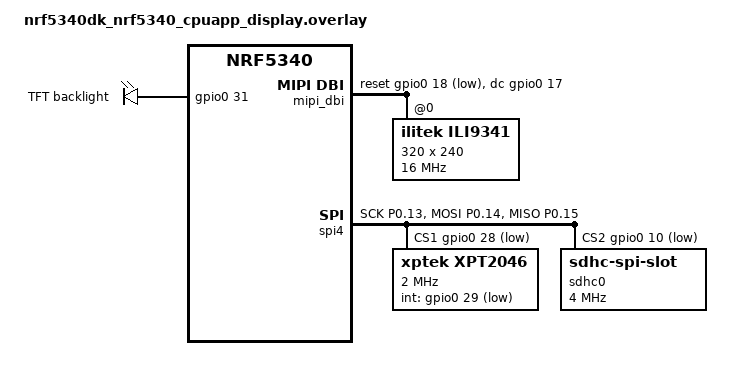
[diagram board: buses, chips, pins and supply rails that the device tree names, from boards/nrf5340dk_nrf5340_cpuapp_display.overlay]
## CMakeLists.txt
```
# SPDX-License-Identifier: Apache-2.0

cmake_minimum_required(VERSION 3.20.0)

find_package(Zephyr REQUIRED HINTS $ENV{ZEPHYR_BASE})
project(blue_frog)

# One firmware per unit type, each with its own overlay + conf pair:
#
#   TFT unit     CONFIG_APP_TDMA_CONSOLE  src/tdma_console  boards/..._tft.*
#   shield unit  CONFIG_APP_TDMA_FIELD    src/tdma_field    boards/..._shield.*
#
# A build given only one file of a pair, or neither, would link a front end
# the devicetree does not have and fail somewhere obscure. Stop here instead,
# with the two build lines.
if(CONFIG_APP_TDMA_CONSOLE)
  dt_nodelabel(unit_front_end NODELABEL ili9341)
elseif(CONFIG_APP_TDMA_FIELD)
  dt_nodelabel(unit_front_end NODELABEL ssd1306)
endif()
if(NOT unit_front_end)
  message(FATAL_ERROR
    "Build one unit type, passing both of its files:\n"
    "  TFT unit:    -DEXTRA_DTC_OVERLAY_FILE=boards/nrf5340dk_nrf5340_cpuapp_tft.overlay"
    " -DEXTRA_CONF_FILE=boards/nrf5340dk_nrf5340_cpuapp_tft.conf\n"
    "  shield unit: -DEXTRA_DTC_OVERLAY_FILE=boards/nrf5340dk_nrf5340_cpuapp_shield.overlay"
    " -DEXTRA_CONF_FILE=boards/nrf5340dk_nrf5340_cpuapp_shield.conf\n"
    "(see README.md, \"Building and flashing\").")
endif()

# Shared by both units: the L1/L2 TDMA radio layer, the SD card + soak
# loggers and the tone payload source, none of which depend on the display.
# tone_src is referenced only when the tone can be sent (CONFIG_SOAK_RTT or
# CONFIG_SOAK_PAYLOAD_TONE, see payload_src.h); otherwise the linker drops
# the code, so ramp builds link none of it.
FILE(GLOB tdma_sources src/tdma/*.c)
target_sources(app PRIVATE ${tdma_sources}
  src/tdma_console/sd_log.c
  src/tdma_console/soak_log.c
  src/tdma_console/tone_src.c)
# The RTT bench port (CONFIG_SOAK_RTT), shared the same way, and the Codec 2
# clip source it uploads into (the clip mode depends on it).
target_sources_ifdef(CONFIG_SOAK_RTT app PRIVATE
  src/tdma_console/rtt_link.c
  src/tdma_console/clip_src.c)

# Codec 2 on the device (CONFIG_SOAK_C2_ENCODE): the vendored subset in
# external/codec2 (LGPL-2.1, see its README) as its own static library, and
# the encoder thread that drives it. __EMBEDDED__ keeps the codebooks const
# (flash) and routes the codec's MALLOC to codec2_malloc() (c2_enc.c);
# -ffp-contract=off stops
# GCC fusing multiply-adds, so the device computes what the host reference
# (pycodec2) computes. Upstream code, upstream warnings: silenced.
if(CONFIG_SOAK_C2_ENCODE)
  FILE(GLOB codec2_sources external/codec2/src/*.c)
  add_library(codec2 STATIC ${codec2_sources})
  target_link_libraries(codec2 PRIVATE zephyr_interface)
  # FFTs on CMSIS-DSP (CONFIG_SOAK_C2_ARM_FFT): upstream's FDV_ARM_MATH path.
  # PUBLIC, so every file that includes codec2_fft.h agrees on the types.
  if(CONFIG_SOAK_C2_ARM_FFT)
    target_compile_definitions(codec2 PUBLIC FDV_ARM_MATH)
  endif()
  # Only mode 3200 is compiled in; the others' tables never reach flash.
  target_compile_definitions(codec2 PUBLIC CODEC2_MODE_EN_DEFAULT=0
    CODEC2_MODE_3200_EN=1)
  target_compile_definitions(codec2 PUBLIC __EMBEDDED__)
  # Upstream builds in GNU C; Zephyr's -std=c99 hides M_PI and friends.
  target_compile_definitions(codec2 PRIVATE _DEFAULT_SOURCE)
  # -O2 through a force-included pragma (external/codec2_opt.h): Zephyr's
  # -Os lands after target options, so -O2 here would lose.
  # -fsingle-precision-constant: the sources write constants like 2.0*PI,
  # which promote float maths to double, and the M33's FPU is single
  # precision only, so every such expression ran in software
  # (__aeabi_dmul & co. in every hot file).
  target_compile_options(codec2 PRIVATE -w -ffp-contract=off
    -fsingle-precision-constant
    -include ${CMAKE_CURRENT_SOURCE_DIR}/external/codec2_opt.h)
  target_include_directories(codec2 PUBLIC external/codec2/src
    external/codec2/include)
  target_link_libraries(app PRIVATE codec2)
  target_sources(app PRIVATE src/tdma_console/c2_enc.c
    src/tdma_console/c2_dec.c)
  # Mic DSP front end (CONFIG_SOAK_MIC_DSP): the vendored SpeexDSP
  # preprocessor subset in external/speexdsp (BSD, see its README) as its
  # own static library. Same -O2 pragma and single-precision constants as
  # Codec 2, and float_math.h maps its double libm calls to the float ones;
  # config.h and the allocator hooks are in external/speexdsp/port.
  if(CONFIG_SOAK_MIC_DSP)
    add_library(speexdsp STATIC
      external/speexdsp/libspeexdsp/preprocess.c
      external/speexdsp/libspeexdsp/filterbank.c
      external/speexdsp/libspeexdsp/fftwrap.c
      external/speexdsp/libspeexdsp/smallft.c
      external/speexdsp/port/echo_stub.c)
    target_link_libraries(speexdsp PRIVATE zephyr_interface)
    target_compile_definitions(speexdsp PRIVATE HAVE_CONFIG_H)
    # SHELL: keeps CMake from merging the two -include flags into one.
    target_compile_options(speexdsp PRIVATE -w -fsingle-precision-constant
      "SHELL:-include ${CMAKE_CURRENT_SOURCE_DIR}/external/codec2_opt.h"
      "SHELL:-include ${CMAKE_CURRENT_SOURCE_DIR}/external/speexdsp/port/float_math.h")
    target_include_directories(speexdsp PRIVATE external/speexdsp/port
      external/speexdsp/libspeexdsp)
    target_include_directories(speexdsp PUBLIC external/speexdsp/include)
    target_link_libraries(app PRIVATE speexdsp)
    target_sources(app PRIVATE src/tdma_console/mic_dsp.c)
  endif()
  # Per-function profile (CONFIG_SOAK_C2_PROFILE): the linker sends the
  # codec's cross-file calls to timing wrappers in c2_prof.c.
  if(CONFIG_SOAK_C2_PROFILE)
    target_sources(app PRIVATE src/tdma_console/c2_prof.c)
    foreach(fn codec2_encode codec2_decode dft_speech nlp
        two_stage_pitch_refinement estimate_amplitudes est_voicing_mbe
        speech_to_uq_lsps encode_lspds_scalar decode_lspds_scalar lsp_to_lpc
        aks_to_M2 phase_synth_zero_order postfilter synthesise
        kiss_fft kiss_fftr kiss_fftri arm_cfft_f32 arm_rfft_fast_f32
        cosf sinf expf logf log10f sqrtf floorf atan2f powf)
      zephyr_ld_options(-Wl,--wrap=${fn})
    endforeach()
  endif()
endif()
# Opus on the device (CONFIG_SOAK_OPUS_DEC): the vendored libopus 1.5.2
# subset in external/opus (BSD-3-Clause, see its README) as its own static
# library. Fixed point, no float API, no DNN extensions; scratch on the
# calling thread's stack (VAR_ARRAYS), so decode needs no heap. Same -O2
# pragma as Codec 2. Upstream code, upstream warnings: silenced.
if(CONFIG_SOAK_OPUS_DEC)
  FILE(GLOB opus_sources external/opus/celt/*.c external/opus/silk/*.c
    external/opus/silk/fixed/*.c external/opus/src/*.c)
  add_library(opus STATIC ${opus_sources})
  target_link_libraries(opus PRIVATE zephyr_interface)
  # OPUS_ARM_INLINE_ASM / _EDSP: upstream's inline-asm fixed-point
  # multiplies (celt/arm, silk/arm), single SMULWB/SMLAWB/SMULL-class
  # instructions on the M33's DSP extension instead of 64-bit C maths.
  target_compile_definitions(opus PRIVATE OPUS_BUILD FIXED_POINT
    DISABLE_FLOAT_API VAR_ARRAYS "PACKAGE_VERSION=\"1.5.2\""
    OPUS_ARM_INLINE_ASM OPUS_ARM_INLINE_EDSP)
  target_compile_options(opus PRIVATE -w
    -include ${CMAKE_CURRENT_SOURCE_DIR}/external/codec2_opt.h)
  target_include_directories(opus PRIVATE external/opus/celt
    external/opus/silk external/opus/silk/fixed external/opus/src)
  target_include_directories(opus PUBLIC external/opus/include)
  target_link_libraries(app PRIVATE opus)
  target_sources(app PRIVATE src/tdma_console/opus_dec.c)
  # The same encoder pipeline as Codec 2's, on libopus
  # (CONFIG_SOAK_OPUS_ENC).
  target_sources_ifdef(CONFIG_SOAK_OPUS_ENC app PRIVATE
    src/tdma_console/c2_enc.c)
endif()
# A clip compiled into flash (CONFIG_SOAK_CLIP_BUILTIN), loaded at boot by
# clip_src.c: a field unit with no mic and no PC.
if(CONFIG_SOAK_CLIP_BUILTIN)
  generate_inc_file_for_target(app
    ${CMAKE_CURRENT_SOURCE_DIR}/${CONFIG_SOAK_CLIP_BUILTIN_FILE}
    ${ZEPHYR_BINARY_DIR}/include/generated/clip_builtin.inc)
endif()
# The WM8960 HAT (CONFIG_SOAK_AUDIO_HAT): mic and earpieces, for either
# codec's decoder.
target_sources_ifdef(CONFIG_SOAK_AUDIO_HAT app PRIVATE
  src/tdma_console/hat_audio.c src/tdma_console/wm8960.c)
target_include_directories(app PRIVATE src/tdma src/tdma_console)
# Driver-internal header, needed once at init to detach the native driver's
# DIO1 gpio_callback (docs/tdma_layering.md). The installed driver *is* the
# repo's vendored copy (scripts/setup_sdk.sh), so the struct layout is the
# one this build links against.
target_include_directories(app PRIVATE ${ZEPHYR_BASE}/drivers/lora/native/sx126x)

if(CONFIG_APP_TDMA_CONSOLE)
  target_sources(app PRIVATE
    src/tdma_console/main.c
    src/tdma_console/ui_widgets.c
    src/tdma_console/touch_cal.c)
elseif(CONFIG_APP_TDMA_FIELD)
  FILE(GLOB tdma_field_sources src/tdma_field/*.c)
  target_sources(app PRIVATE ${tdma_field_sources})
endif()
```

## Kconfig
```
# Application configuration.
#
# One firmware per unit type on the bench. Exactly one is built at a time,
# selected by that unit's companion conf, which is always applied together
# with its overlay (see README.md, "Building and flashing"):
#
#   TFT unit     boards/nrf5340dk_nrf5340_cpuapp_tft.{overlay,conf}
#   shield unit  boards/nrf5340dk_nrf5340_cpuapp_shield.{overlay,conf}
#
# Both run the same TDMA radio layer (src/tdma) and log soaks to SD.

choice
	prompt "Unit type"
	help
	  Set by the unit's companion conf. CMakeLists.txt stops the build if
	  the choice and the devicetree front end do not match.

config APP_TDMA_CONSOLE
	bool "TFT unit: TDMA field console (ILI9341 + touch + microSD)"
	select COUNTER
	help
	  Field-test console for the TDMA radio layer on the TFT breakout:
	  ILI9341 display, XPT2046 touch and microSD on spi4 / port 0, with the
	  radio shield on spi2 / port 1. Apply
	  boards/nrf5340dk_nrf5340_cpuapp_tft.overlay and
	  boards/nrf5340dk_nrf5340_cpuapp_tft.conf. Soak tests of the continuous
	  TX/RX frame exchange with live link telemetry on the TFT. The unit
	  (MASTER in slot 0, or SEC 1-3) is picked at boot, so one image serves
	  every unit. All PHY parameters are compile-time constants in tdma.h
	  except TX power. Display-only: no UART, logging, or shell.

config APP_TDMA_FIELD
	bool "Shield unit: TDMA field unit (rev 2 shield: OLED + microSD)"
	select COUNTER
	help
	  The same soak runner on the rev 2 shield: an SSD1306 128x32 OLED on
	  i2c1, a microSD card on spi4, and the SX1262 on spi2 / port 1. Apply
	  boards/nrf5340dk_nrf5340_cpuapp_shield.overlay and
	  boards/nrf5340dk_nrf5340_cpuapp_shield.conf. Buttons only, with an
	  essentials-only cycle UI: unit (MASTER in slot 0, or SEC 1-3) at
	  boot, then soak, TX power and an SD summary. UART logging stays on for
	  bring-up.

endchoice

config TDMA_PAYLOAD_LEN
	int "L3 payload bytes per packet (40 or 80)"
	default 40
	range 40 80
	help
	  Bytes of opaque payload behind the 4-byte L2 header. 40 is the
	  engine every log before 2026-10-30 ran. 80 carries four 18 B Opus
	  frames behind the 8-byte clip test header
	  (docs/opus_payload.md): 84 B on air, 12.88 ms of the 18 ms slot
	  window. Time-on-air and the pre-TX pickup follow from it (tdma.h),
	  and so does the soak log record (64 B, or 128 B at 80). Every unit
	  in a group must match: the L2 length check drops anything else.

config SOAK_UNIT_SLOT
	int "Unit to boot as: TX slot 0 (MASTER) to 3, or -1 to pick at power-on"
	default -1
	range -1 3
	depends on APP_TDMA_CONSOLE || APP_TDMA_FIELD
	help
	  Preset the unit for field runs, so it boots without the power-on
	  unit pick: splash (unit and TX power), an SD card check, then
	  straight into the soak menu. 0 is the MASTER, 1-3 are SEC 1-3; give
	  every unit in a kit its own value, e.g.
	  -DCONFIG_SOAK_UNIT_SLOT=0 on one unit. -1 keeps the power-on pick.

config SOAK_BOOT_TX_POWER_DBM
	int "TX power at boot (dBm)"
	default 22
	range -9 22
	depends on APP_TDMA_CONSOLE || APP_TDMA_FIELD
	help
	  TX power each unit starts at; still adjustable from HOME (TX PWR).

config SOAK_TOUCH_CAL
	bool "TFT unit: power-on touch calibration"
	default y
	depends on APP_TDMA_CONSOLE && !SOAK_PAYLOAD_LADDER
	help
	  Run the mandatory touch calibration at power-on. Say n to drive the
	  console from the DK buttons only (B1 UP, B2 DOWN, B3 OK, B4 BACK):
	  calibration is skipped and touch input is ignored, since uncalibrated
	  taps land in the wrong place. Always off in a ladder build, which
	  runs on B1 GO and B4 STOP alone.

choice SOAK_PAYLOAD
	prompt "Soak payload"
	default SOAK_PAYLOAD_RAMP
	help
	  What a soak puts in each transmission's payload. The log's META
	  record says which payload a unit sent. With SOAK_RTT all four
	  sources are linked and the bench port's "mode" command picks the
	  one the next soak starts in; this is the boot default. Without it,
	  only the chosen source is linked. A soak latches its source at
	  start and never switches mid-run.

config SOAK_PAYLOAD_RAMP
	bool "Ramp: payload[i] = base + i"
	help
	  The original payload. The base advances once per staged frame.

config SOAK_PAYLOAD_TONE
	bool "Tone: per-slot PCM tone"
	help
	  Fill each soak transmission with 40 samples of an 8 kHz, 8-bit tone
	  at 330 Hz * (slot + 1) in place of the payload[i] = base + i ramp.
	  Chunk n is the audio for the unit's n-th TX slot of the run, so a
	  missed frame's audio is dropped, never delayed. Rebuild every unit
	  in the run with the same setting, then turn any unit's log into a
	  WAV of its peers with tools/reconstruct_tone.py. See
	  docs/tone_payload_test.md.

config SOAK_PAYLOAD_CLIP
	bool "Clip: a Codec 2 clip uploaded over RTT"
	depends on SOAK_RTT
	help
	  Chunk n carries an 8-byte test header (magic 0xC2, codec, chunk
	  index, clip id) and the clip's bytes [(n mod chunks) * 32, +32):
	  four Codec 2 3200 frames, 80 ms of speech. With 80-byte payloads
	  the chunk is 72 bytes, four 18 B Opus frames (codec 1). The clip
	  is uploaded once per boot with tools/rtt_link.py and loops. A soak
	  will not start in this mode without a valid clip. Score a run with
	  tools/reconstruct_c2.py. See docs/rtt_link_c2_transport.md.

config SOAK_PAYLOAD_LADDER
	bool "Ladder: TX power ladder test, GO/STOP only"
	help
	  The fixed-range TX power test (src/tdma_console/tx_ladder.h).
	  From GO each unit logs its receiver noise floor, then steps its
	  own TX power from -6 to +22 dBm in 4 dB rungs of 30 s, holds
	  +22 dBm for a 20 s tail (4:20 in all) and ends the run itself.
	  Every packet carries its rung, so either unit's log gives RSSI,
	  SNR and loss per rung (tools/ladder_report.py). Both units drop
	  to two buttons: B1 GO, B4 STOP; preset each with SOAK_UNIT_SLOT.
	  Logs are LADR_NNN.BIN.

endchoice

config SOAK_C2_ENCODE
	bool "Encode Codec 2 on the device (encode test)"
	depends on SOAK_RTT
	select FPU
	select FPU_SHARING
	select INIT_STACKS
	select THREAD_STACK_INFO
	select THREAD_RUNTIME_STATS
	select THREAD_RUNTIME_STATS_USE_TIMING_FUNCTIONS
	select TIMING_FUNCTIONS
	help
	  Link the vendored Codec 2 (external/codec2, LGPL-2.1) and add the
	  "pcm" payload mode: the clip buffer holds raw 8 kHz 16-bit PCM,
	  a frame-locked simulated microphone makes each 80 ms chunk
	  available a set time before its TX boundary, and an encoder thread
	  turns it into four Codec 2 3200 frames behind the clip test header.
	  Encode time is logged per TX record. Received chunks are decoded
	  per peer and mixed (c2_dec.c; output discarded until there is a
	  playout path), with per-thread CPU accounting. Test firmware only: the
	  product licensing of Codec 2 is not settled. See
	  docs/c2_encode_test.md.

config SOAK_OPUS_DEC
	bool "Decode received Opus clips on the device (to the HAT earpieces)"
	depends on SOAK_RTT && TDMA_PAYLOAD_LEN = 80
	select INIT_STACKS
	select THREAD_STACK_INFO
	select THREAD_RUNTIME_STATS
	select THREAD_RUNTIME_STATS_USE_TIMING_FUNCTIONS
	select TIMING_FUNCTIONS
	help
	  Link the vendored libopus 1.5.2 (external/opus, BSD-3-Clause,
	  fixed point) and decode every peer's Opus clip chunk on the unit in
	  payload mode CLIP: one persistent decoder per peer, PLC for up to
	  two lost chunks in a row (docs/opus_payload.md, decision 3). With
	  SOAK_AUDIO_HAT the decoded peers are mixed into the earpieces;
	  without, the audio is dropped and only the decode cost is measured
	  (gate C1's decode half). The clips are encoded on the host
	  (tools/c2clip.py opus); there is no device encoder yet. Status
	  reports decode time, PLC counts, stack and state size.

config SOAK_OPUS_ENC
	bool "Encode Opus on the device: the HAT mic (mode MIC) and PCM clips"
	depends on SOAK_OPUS_DEC && !SOAK_C2_ENCODE
	select FPU
	select FPU_SHARING
	help
	  The on-device encoder (c2_enc.c) with libopus instead of Codec 2:
	  SILK narrowband, 7.2 kbit/s CBR, SILK forced, no DTX or FEC
	  (docs/opus_payload.md decision 2), four 18 B frames per 72 B
	  chunk. Adds the "mic" mode with SOAK_AUDIO_HAT (live voice: the
	  intercom) and the "pcm" encode test; received chunks in either go
	  to the Opus decoder. Gate C1's encode half: status "enc" reports
	  per-frame encode time, stack and state size. The FPU is on: a
	  little float is left in the fixed-point encode path (-20 % time).
	  The capture phase defaults to 20 ms: the worst frame encode
	  (~11 ms at complexity 0) plus the 3.5 ms pickup must fit in it.

config SOAK_OPUS_COMPLEXITY
	int "Opus encoder complexity (0-10)"
	default 0
	range 0 10
	depends on SOAK_OPUS_ENC
	help
	  Decision 2 started at 2, but on the M33 at 128 MHz (fixed point,
	  FPU and DSP inline asm, 2026-10-30) a 20 ms frame takes ~27 ms at
	  2 (SILK's delayed-decision quantizer), 8.5 ms at 1 and 7.5 ms
	  (worst 10.6) at 0: only 0 and 1 run in real time. On the host,
	  0/1/2 score STOI 0.862/0.865/0.878 on clean speech (Codec 2:
	  0.791).

config SOAK_CLIP_BUILTIN
	bool "A clip compiled into flash, valid from boot"
	depends on SOAK_RTT
	help
	  Load SOAK_CLIP_BUILTIN_FILE into the clip buffer at boot, so the
	  unit can run clip mode (its boot mode then) with no PC to upload
	  one: a field unit with no mic. An upload over RTT still replaces it
	  until reset.

config SOAK_CLIP_BUILTIN_FILE
	string "Clip file, relative to the application directory"
	depends on SOAK_CLIP_BUILTIN
	default "soaks/clips/OSR_0011_F.op72"
	help
	  A clip as c2clip.py writes it: a whole number of chunks (32 B for
	  40-byte payloads, 72 B for 80-byte ones), at most
	  SOAK_CLIP_BUF_KB.

config SOAK_AUDIO_HAT
	bool "WM8960 Audio HAT: mic (payload mode MIC) and earpieces"
	depends on SOAK_C2_ENCODE || SOAK_OPUS_DEC
	select I2C
	select I2S
	help
	  Drive a WM8960 Audio HAT (docs/live_audio_wm8960.md): codec setup
	  over i2c1, i2s0 as the slave at 8 kHz, both mics into a capture
	  ring, and playout of the decoded peers to the earpieces. With an
	  encoder (SOAK_C2_ENCODE, or SOAK_OPUS_ENC) the "mic" payload mode,
	  the boot mode: the per-frame encoder takes live 20 ms frames (a
	  mono mix, "mix avg|left|right") instead of the PCM clip. With
	  SOAK_OPUS_DEC alone, the received Opus clips play. Needs
	  boards/audio_hat.overlay after the unit's own overlay.

config SOAK_MIC_DSP
	bool "Mic DSP front end: HPF + SpeexDSP noise suppression + AGC"
	depends on SOAK_C2_ENCODE
	help
	  Condition each 20 ms frame before Codec 2 encodes it, in mic and
	  pcm modes: a 150 Hz high-pass, then the SpeexDSP preprocessor's
	  noise suppression and AGC (external/speexdsp, BSD) on 10 ms
	  sub-frames, adding ~10 ms of delay and ~1.7 ms of CPU per 20 ms
	  frame. On by default once built in; switchable over RTT ("dsp
	  on|off", "dsp hpf|ns|agc on|off"), and off the encoder sees exactly
	  the frames it saw before. Off by default: D1 passed in stationary
	  crowd roar but not in babble (docs/mic_dsp_frontend.md).

# A fourth RTT up channel for the raw mic stream ("rawmic on", rtt_link.c).
configdefault SEGGER_RTT_MAX_NUM_UP_BUFFERS
	default 4 if SOAK_AUDIO_HAT

config SOAK_C2_ARM_FFT
	bool "Codec 2 FFTs through CMSIS-DSP"
	default y
	depends on SOAK_C2_ENCODE
	select CMSIS_DSP
	select CMSIS_DSP_TRANSFORM
	select CMSIS_DSP_BASICMATH
	help
	  Build Codec 2 with upstream's FDV_ARM_MATH path: its FFTs run on
	  CMSIS-DSP (arm_cfft_f32, arm_rfft_fast_f32) instead of kiss_fft.
	  The FFTs were ~39 % of both encode and decode (G0 profile,
	  docs/live_audio_wm8960.md). CMSIS rounds differently from
	  kiss_fft, so frames differ from a kiss-based host encoder in a few
	  more bits. n to go back to kiss_fft for comparison.

config SOAK_C2_PROFILE
	bool "Profile Codec 2 per function (bench command)"
	depends on SOAK_C2_ENCODE
	help
	  Wrap the codec's internal cross-file calls (FFTs, pitch
	  estimation, LSP maths, synthesis) and its libm calls with the
	  linker's --wrap, time each with the cycle counter, and report
	  per-chunk figures after "rtt_link.py bench". The vendored sources
	  are untouched. Adds a little overhead to every wrapped call, so
	  keep it off for timing runs other than the benchmark. See
	  src/tdma_console/c2_prof.c.

config SOAK_CLIP_BUF_KB
	int "Clip buffer size (KB)"
	default 128 if SOAK_C2_ENCODE
	default 64 if TDMA_PAYLOAD_LEN > 40
	default 32
	range 1 256
	depends on SOAK_RTT
	help
	  Static RAM for the uploaded clip. 32 KB holds ~80 s of Codec 2
	  3200; 64 KB holds ~72 s of Opus at 7.2 kbit/s (80 B payloads).
	  The clip must be a multiple of the clip chunk (payload minus the
	  8-byte header: 32 or 72 bytes) and no larger. Raw PCM for the
	  encode test is 16 KB/s, so 128 KB holds 8 s.

config SOAK_RTT
	bool "Soak bench port over J-Link RTT"
	default y
	depends on APP_TDMA_CONSOLE || APP_TDMA_FIELD
	select USE_SEGGER_RTT
	help
	  Stream every soak record to the host over J-Link RTT (up channel 1,
	  the same 64 B records the card gets, META first) and take bench
	  commands on down channel 1: status, soak <minutes> [sd], stop.
	  Replies come back on up channel 2. No pins and no USB stack: the
	  DK's on-board J-Link reads the RAM rings over SWD. A soak started
	  from the UI still logs to the card as well; one started by the
	  soak command logs to RTT only unless given "sd". Drive it with
	  tools/rtt_link.py. Channel 0, logging and the console are left
	  alone. With n, the tree builds and behaves as before. See
	  docs/rtt_link_c2_transport.md.

# RTT channel counts for the bench port: up 0 (Zephyr's terminal, unused),
# up 1 records, up 2 replies; down 0, down 1 commands. Parsed before the
# SEGGER module's definitions, so these defaults win.
config SEGGER_RTT_MAX_NUM_UP_BUFFERS
	int
	default 3 if SOAK_RTT

config SEGGER_RTT_MAX_NUM_DOWN_BUFFERS
	int
	default 2 if SOAK_RTT

# The encode test's libc heap: Codec 2 allocates each state with malloc once
# per run: the encoder, a decoder per peer slot (three) and up to two extra
# decode streams (c2_dec.h). A fixed arena keeps the RAM budget visible (the
# default takes whatever RAM is left); status reports what is left over.
config COMMON_LIBC_MALLOC_ARENA_SIZE
	int
	default 131072 if SOAK_C2_ENCODE

# The encoder (preemptible 0) and decoder (1) threads are preemptible so
# they can never hold off the radio or data threads. They must still outrank
# the UI loop, whose repaints run long, so main steps down to 2.
config MAIN_THREAD_PRIORITY
	int
	default 2 if SOAK_C2_ENCODE || SOAK_OPUS_DEC

# Turning RTT on would otherwise also turn on Zephyr's RTT log backend, a
# blocking writer on channel 0 that stalls every log call while no host is
# attached. The shield unit logs to UART; the bench port leaves that alone.
config LOG_BACKEND_RTT
	bool
	default n if SOAK_RTT

# The TDMA engine keeps the radio awake for its whole life (PLL kept locked
# in FS between slots; the TCXO warm-up cost is paid once at init). The
# driver's sleep-when-idle behaviour would also detach/re-attach its DIO1
# handling at runtime, violating the post-init quiescence L2 relies on
# (docs/tdma_layering.md). This definition is parsed before the driver's
# (sourced via Kconfig.zephyr below), so its default wins.
config LORA_SX126X_NATIVE_SLEEP
	bool
	default n

source "Kconfig.zephyr"
```

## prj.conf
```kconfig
# ---- Common to both units ----
# Logging over the DK's VCOM UART. The shield unit keeps it for bring-up; the
# TFT unit is display-only and turns it off in its companion conf
# (boards/nrf5340dk_nrf5340_cpuapp_tft.conf).
CONFIG_LOG=y
CONFIG_LOG_BACKEND_UART=y
CONFIG_PRINTK=y
CONFIG_SPI=y
CONFIG_GPIO=y

# ---- LoRa (SX1262 on spi2 / port 1, both units) ----
# The native driver is used for init only; the TDMA layer (src/tdma) owns
# the radio after that.
CONFIG_LORA=y
CONFIG_LORA_MODULE_BACKEND_NATIVE=y
CONFIG_LORA_SX126X_NATIVE=y

# Everything front-end specific (display, touch/buttons, SD + FAT, the unit
# type itself) lives in the unit's companion conf, applied with its overlay:
# boards/nrf5340dk_nrf5340_cpuapp_{tft,shield}.{conf,overlay}.
```

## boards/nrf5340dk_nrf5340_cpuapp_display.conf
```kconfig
# Telemetry console — companion config for the Hiletgo TFT breakout overlay
# boards/nrf5340dk_nrf5340_cpuapp_display.overlay.
#
# Apply together with the overlay:
#   -DEXTRA_DTC_OVERLAY_FILE=boards/nrf5340dk_nrf5340_cpuapp_display.overlay
#   -DEXTRA_CONF_FILE=boards/nrf5340dk_nrf5340_cpuapp_display.conf
#
# Kept separate from prj.conf so the LoRa-only build does not enable the
# display subsystem / FATFS (FATFS fails to build with no disk volume present).

# Select the telemetry console application variant (see Kconfig).
CONFIG_APP_CONSOLE=y

# Display: ILI9341 over MIPI-DBI-SPI
CONFIG_DISPLAY=y
CONFIG_MIPI_DBI=y
# Reuse CFB's bundled fonts as glyph data; we blit RGB565 ourselves because
# CFB's own framebuffer is monochrome-only and cannot drive the ILI9341.
CONFIG_CHARACTER_FRAMEBUFFER=y
CONFIG_CHARACTER_FRAMEBUFFER_USE_DEFAULT_FONTS=y

# Touch: XPT2046 via the input subsystem; DK buttons via gpio-keys
CONFIG_INPUT=y
CONFIG_INPUT_GPIO_KEYS=y

# SD card over SPI + FAT filesystem
CONFIG_DISK_ACCESS=y
CONFIG_SDHC=y
CONFIG_SDMMC_STACK=y
CONFIG_DISK_DRIVER_SDMMC=y
CONFIG_FILE_SYSTEM=y
CONFIG_FAT_FILESYSTEM_ELM=y

CONFIG_MAIN_STACK_SIZE=8192

# Console build is display-only: no UART / serial / console / logging. All state
# is shown on the TFT. (prj.conf keeps logging enabled for the LoRa-send variant,
# which has no display and reports over UART; these lines override it here.)
CONFIG_SERIAL=n
CONFIG_CONSOLE=n
CONFIG_UART_CONSOLE=n
CONFIG_LOG=n
CONFIG_LOG_BACKEND_UART=n
CONFIG_BOOT_BANNER=n
# CONFIG_PRINTK is left at its default: with SERIAL/CONSOLE off it has no backend,
# so nothing reaches a UART. (A subsystem force-selects it, so pinning it =n only
# produces a Kconfig warning.)
```

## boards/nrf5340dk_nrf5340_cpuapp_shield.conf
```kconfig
# TDMA field variant: companion config for the rev 2 shield overlay
# boards/nrf5340dk_nrf5340_cpuapp_shield.overlay (SSD1306 OLED on i2c1,
# microSD on spi4, SX1262 on spi2).
#
# Apply together with the overlay:
#   -DEXTRA_DTC_OVERLAY_FILE=boards/nrf5340dk_nrf5340_cpuapp_shield.overlay
#   -DEXTRA_CONF_FILE=boards/nrf5340dk_nrf5340_cpuapp_shield.conf

# Select the TDMA field variant (see Kconfig).
CONFIG_APP_TDMA_FIELD=y

# Display: SSD1306 128x32 over I2C, drawn through CFB's own monochrome
# framebuffer. The SSD1306 driver selects I2C; it is set here as well so the
# dependency is written down. The variant adds an 8x8 font
# (src/tdma_field/font_unscii8.c, 16 x 4 characters on the panel) for the
# caption bar, detail lines and the soak summary; the bundled 10x16 font is
# the large middle line.
CONFIG_DISPLAY=y
CONFIG_I2C=y
CONFIG_CHARACTER_FRAMEBUFFER=y
CONFIG_CHARACTER_FRAMEBUFFER_USE_DEFAULT_FONTS=y

# cfb_framebuffer_init() k_malloc()s the frame (128 x 32 / 8 = 512 B).
CONFIG_HEAP_MEM_POOL_SIZE=2048

# DK buttons via gpio-keys (no touch on this variant).
CONFIG_INPUT=y
CONFIG_INPUT_GPIO_KEYS=y

# SD card over SPI + FAT filesystem: the soak logger
# (src/tdma_console/sd_log.c, shared) writes run logs to the microSD on spi4.
# The rest of this block matches the TDMA console's config line for line.
CONFIG_DISK_ACCESS=y
CONFIG_SDHC=y
CONFIG_SDMMC_STACK=y
CONFIG_DISK_DRIVER_SDMMC=y
CONFIG_FILE_SYSTEM=y
CONFIG_FAT_FILESYSTEM_ELM=y

# Accept both card formats found on the bench: FAT32 for small cards, exFAT
# for the >32 GB ones Windows will not format as FAT32. exFAT selects LFN
# automatically (FatFs requires it). LFN defaults to the BSS working-buffer
# mode, which is documented as not thread-safe. That is safe here because
# every FatFs call is made from the soak_log writer thread and nowhere else.
CONFIG_FS_FATFS_EXFAT=y

# 64-bit LBA, which also brings GPT partition-table support. Large SDXC cards
# are not always MBR-partitioned, and without this FatFs cannot find the
# volume on a GPT card at all.
CONFIG_FS_FATFS_LBA64=y

# Never reformat a card we failed to mount. Zephyr's default answer to
# FR_NO_FILESYSTEM is f_mkfs(FM_ANY | FM_SFD), which would wipe the operator's
# card, partition table included, just because the logger did not recognise
# it. sd_log.c also sets FS_MOUNT_FLAG_NO_FORMAT; this removes the code
# outright.
CONFIG_FS_FATFS_MOUNT_MKFS=n

CONFIG_MAIN_STACK_SIZE=8192

# UART logging stays ON for bring-up (prj.conf's LOG + UART backend). Unlike
# the TFT front end, this shield does not use VCOM's pins (P0.20/P0.22), so
# they are not contended. Stripping it back to display-only is a follow-on
# once the variant is proven.
```

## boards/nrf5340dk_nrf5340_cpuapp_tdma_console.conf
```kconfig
# Intercom TDMA field console — companion config for the Hiletgo TFT breakout
# overlay boards/nrf5340dk_nrf5340_cpuapp_display.overlay (shared with the
# telemetry console; the front-end wiring is identical).
#
# Apply together with the overlay:
#   -DEXTRA_DTC_OVERLAY_FILE=boards/nrf5340dk_nrf5340_cpuapp_display.overlay
#   -DEXTRA_CONF_FILE=boards/nrf5340dk_nrf5340_cpuapp_tdma_console.conf

# Select the TDMA field console application variant (see Kconfig).
CONFIG_APP_TDMA_CONSOLE=y

# Display: ILI9341 over MIPI-DBI-SPI
CONFIG_DISPLAY=y
CONFIG_MIPI_DBI=y
# Reuse CFB's bundled fonts as glyph data; we blit RGB565 ourselves because
# CFB's own framebuffer is monochrome-only and cannot drive the ILI9341.
CONFIG_CHARACTER_FRAMEBUFFER=y
CONFIG_CHARACTER_FRAMEBUFFER_USE_DEFAULT_FONTS=y

# Touch: XPT2046 via the input subsystem; DK buttons via gpio-keys
CONFIG_INPUT=y
CONFIG_INPUT_GPIO_KEYS=y

# SD card over SPI + FAT filesystem: the soak logger (src/tdma_console/sd_log.c)
# writes run logs to the microSD on the same spi4 bus as the display/touch
# (chip select reg 2, see the display overlay).
CONFIG_DISK_ACCESS=y
CONFIG_SDHC=y
CONFIG_SDMMC_STACK=y
CONFIG_DISK_DRIVER_SDMMC=y
CONFIG_FILE_SYSTEM=y
CONFIG_FAT_FILESYSTEM_ELM=y

# Accept both card formats found on the bench: FAT32 for small cards, exFAT
# for the >32 GB ones Windows will not format as FAT32. exFAT selects LFN
# automatically (FatFs requires it). LFN defaults to the BSS working-buffer
# mode, which is documented as not thread-safe — that is safe here because
# every FatFs call is made from the soak_log writer thread and nowhere else.
CONFIG_FS_FATFS_EXFAT=y

# 64-bit LBA, which also brings GPT partition-table support. Large SDXC cards
# are not always MBR-partitioned, and without this FatFs cannot find the
# volume on a GPT card at all.
CONFIG_FS_FATFS_LBA64=y

# Never reformat a card we failed to mount. Zephyr's default answer to
# FR_NO_FILESYSTEM is f_mkfs(FM_ANY | FM_SFD) — it would wipe the operator's
# card, partition table included, because the logger did not recognise it.
# sd_log.c also sets FS_MOUNT_FLAG_NO_FORMAT; this removes the code outright.
CONFIG_FS_FATFS_MOUNT_MKFS=n

CONFIG_MAIN_STACK_SIZE=8192

# Display-only build: no UART / serial / console / logging. All state is shown
# on the TFT. (prj.conf keeps logging enabled for the LoRa-send variant, which
# has no display and reports over UART; these lines override it here.)
CONFIG_SERIAL=n
CONFIG_CONSOLE=n
CONFIG_UART_CONSOLE=n
CONFIG_LOG=n
CONFIG_LOG_BACKEND_UART=n
CONFIG_BOOT_BANNER=n
```

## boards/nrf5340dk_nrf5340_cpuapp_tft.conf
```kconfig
# TFT unit: TDMA field console. Companion config for the Hiletgo TFT breakout
# overlay boards/nrf5340dk_nrf5340_cpuapp_tft.overlay.
#
# Apply together with the overlay:
#   -DEXTRA_DTC_OVERLAY_FILE=boards/nrf5340dk_nrf5340_cpuapp_tft.overlay
#   -DEXTRA_CONF_FILE=boards/nrf5340dk_nrf5340_cpuapp_tft.conf

# Select the TFT unit's firmware (see Kconfig).
CONFIG_APP_TDMA_CONSOLE=y

# Display: ILI9341 over MIPI-DBI-SPI
CONFIG_DISPLAY=y
CONFIG_MIPI_DBI=y
# Reuse CFB's bundled fonts as glyph data; we blit RGB565 ourselves because
# CFB's own framebuffer is monochrome-only and cannot drive the ILI9341.
CONFIG_CHARACTER_FRAMEBUFFER=y
CONFIG_CHARACTER_FRAMEBUFFER_USE_DEFAULT_FONTS=y

# Touch: XPT2046 via the input subsystem; DK buttons via gpio-keys
CONFIG_INPUT=y
CONFIG_INPUT_GPIO_KEYS=y

# SD card over SPI + FAT filesystem: the soak logger (src/tdma_console/sd_log.c)
# writes run logs to the microSD on the same spi4 bus as the display/touch
# (chip select reg 2, see the TFT overlay).
CONFIG_DISK_ACCESS=y
CONFIG_SDHC=y
CONFIG_SDMMC_STACK=y
CONFIG_DISK_DRIVER_SDMMC=y
CONFIG_FILE_SYSTEM=y
CONFIG_FAT_FILESYSTEM_ELM=y

# Accept both card formats found on the bench: FAT32 for small cards, exFAT
# for the >32 GB ones Windows will not format as FAT32. exFAT selects LFN
# automatically (FatFs requires it). LFN defaults to the BSS working-buffer
# mode, which is documented as not thread-safe — that is safe here because
# every FatFs call is made from the soak_log writer thread and nowhere else.
CONFIG_FS_FATFS_EXFAT=y

# 64-bit LBA, which also brings GPT partition-table support. Large SDXC cards
# are not always MBR-partitioned, and without this FatFs cannot find the
# volume on a GPT card at all.
CONFIG_FS_FATFS_LBA64=y

# Never reformat a card we failed to mount. Zephyr's default answer to
# FR_NO_FILESYSTEM is f_mkfs(FM_ANY | FM_SFD) — it would wipe the operator's
# card, partition table included, because the logger did not recognise it.
# sd_log.c also sets FS_MOUNT_FLAG_NO_FORMAT; this removes the code outright.
CONFIG_FS_FATFS_MOUNT_MKFS=n

CONFIG_MAIN_STACK_SIZE=8192

# Display-only build: no UART / serial / console / logging. All state is shown
# on the TFT. (prj.conf keeps logging enabled for the shield unit, which
# reports over UART; these lines override it here.)
CONFIG_SERIAL=n
CONFIG_CONSOLE=n
CONFIG_UART_CONSOLE=n
CONFIG_LOG=n
CONFIG_LOG_BACKEND_UART=n
CONFIG_BOOT_BANNER=n
```

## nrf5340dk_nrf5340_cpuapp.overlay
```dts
#include <dt-bindings/lora/sx126x.h>

/ {
    aliases {
        lora0 = &lora;
    };

    zephyr,user {
        rf-sw-gpios = <&gpio1 0 GPIO_ACTIVE_HIGH>;
    };
};

/* P1.01 is uart1 TX (Arduino Serial) on the nRF5340 DK — disable to free it for MISO */
&uart1 {
    status = "disabled";
};

/* TDMA slot timer (both units): free hardware TIMER instance on the app
 * core, driven via the Zephyr counter API at 1 MHz (16 MHz / 2^4). Both unit
 * types select CONFIG_COUNTER.
 */
&timer2 {
    status = "okay";
    prescaler = <4>;
};

&pinctrl {
    spi2_default: spi2_default {
        group1 {
            psels = <NRF_PSEL(SPIM_SCK,  1, 5)>,
                    <NRF_PSEL(SPIM_MOSI, 1, 4)>,
                    <NRF_PSEL(SPIM_MISO, 1, 1)>;
        };
    };
    spi2_sleep: spi2_sleep {
        group1 {
            psels = <NRF_PSEL(SPIM_SCK,  1, 5)>,
                    <NRF_PSEL(SPIM_MOSI, 1, 4)>,
                    <NRF_PSEL(SPIM_MISO, 1, 1)>;
            low-power-enable;
        };
    };
};

&spi2 {
    compatible = "nordic,nrf-spim";
    status = "okay";
    pinctrl-0 = <&spi2_default>;
    pinctrl-1 = <&spi2_sleep>;
    pinctrl-names = "default", "sleep";
    cs-gpios = <&gpio1 7 GPIO_ACTIVE_LOW>;

    lora: sx1262@0 {
        compatible = "semtech,sx1262";
        reg = <0>;
        reset-gpios    = <&gpio1 6 GPIO_ACTIVE_LOW>;
        busy-gpios     = <&gpio1 9 GPIO_ACTIVE_HIGH>;
        dio1-gpios     = <&gpio1 8 GPIO_ACTIVE_HIGH>;
        dio2-tx-enable;
        /* Boosted LNA gain (reg 0x08AC = 0x96): ~3 dB sensitivity for
         * ~2 mA. Without it lora_config() writes power-saving gain.
         */
        rx-boosted;
        dio3-tcxo-voltage = <SX126X_DIO3_TCXO_1V8>;
        tcxo-power-startup-delay-ms = <10>;
        spi-max-frequency = <500000>;
    };
};
```

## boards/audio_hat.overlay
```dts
/*
 * WM8960 Audio HAT (CONFIG_SOAK_AUDIO_HAT), on either unit type. Applied
 * after the unit's own overlay:
 *
 *   -DEXTRA_DTC_OVERLAY_FILE="boards/nrf5340dk_nrf5340_cpuapp_<unit>.overlay;boards/audio_hat.overlay"
 *
 * Pin map (docs/live_audio_wm8960.md):
 *
 *   HAT pin 3  SDA    -> P0.25  i2c1 SDA
 *   HAT pin 5  SCL    -> P0.26  i2c1 SCL
 *   HAT pin 12 BCLK   -> P0.04  i2s0 SCK   (input: the WM8960 is master)
 *   HAT pin 35 LRCLK  -> P0.05  i2s0 LRCK  (input)
 *   HAT pin 38 ADCDAT -> P0.06  i2s0 SDIN
 *   HAT pin 40 DACDAT -> P0.11  i2s0 SDOUT
 *
 * i2c1 on P0.25/P0.26 is the shield unit's OLED bus already (the codec, at
 * 0x1A, joins it); on the TFT unit this enables it. The HAT has no I2C
 * pull-ups, so the nRF's internal ones are on: enough on the bench with
 * write retries (G1), but real units want 2.2-4.7 k to 3.3 V.
 */

&pinctrl {
	i2c1_hat_default: i2c1_hat_default {
		group1 {
			psels = <NRF_PSEL(TWIM_SDA, 0, 25)>,
				<NRF_PSEL(TWIM_SCL, 0, 26)>;
			bias-pull-up;
		};
	};

	i2c1_hat_sleep: i2c1_hat_sleep {
		group1 {
			psels = <NRF_PSEL(TWIM_SDA, 0, 25)>,
				<NRF_PSEL(TWIM_SCL, 0, 26)>;
			low-power-enable;
		};
	};

	i2s0_hat_default: i2s0_hat_default {
		group1 {
			psels = <NRF_PSEL(I2S_SCK_S, 0, 4)>,
				<NRF_PSEL(I2S_LRCK_S, 0, 5)>,
				<NRF_PSEL(I2S_SDIN, 0, 6)>,
				<NRF_PSEL(I2S_SDOUT, 0, 11)>;
		};
	};

	i2s0_hat_sleep: i2s0_hat_sleep {
		group1 {
			psels = <NRF_PSEL(I2S_SCK_S, 0, 4)>,
				<NRF_PSEL(I2S_LRCK_S, 0, 5)>,
				<NRF_PSEL(I2S_SDIN, 0, 6)>,
				<NRF_PSEL(I2S_SDOUT, 0, 11)>;
			low-power-enable;
		};
	};
};

&i2c1 {
	status = "okay";
	clock-frequency = <I2C_BITRATE_STANDARD>;
	pinctrl-0 = <&i2c1_hat_default>;
	pinctrl-1 = <&i2c1_hat_sleep>;
	pinctrl-names = "default", "sleep";
};

&i2s0 {
	status = "okay";
	pinctrl-0 = <&i2s0_hat_default>;
	pinctrl-1 = <&i2s0_hat_sleep>;
	pinctrl-names = "default", "sleep";
};
```

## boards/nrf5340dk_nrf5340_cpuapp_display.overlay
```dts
/*
 * Hiletgo ILI9341 TFT breakout (display + XPT2046 touch + microSD), jumper-wired
 * to the nRF5340 DK Port 0 headers.
 *
 * Separate from the Wio-SX1262 LoRa shield: the LoRa overlay
 * (nrf5340dk_nrf5340_cpuapp.overlay) uses spi2 on port 1; the breakout uses spi4
 * (the board's high-speed "arduino_spi" instance) on port 0, so the two never
 * overlap. This overlay must be passed explicitly via EXTRA_DTC_OVERLAY_FILE (it
 * is not auto-applied, since its name does not match the board name).
 *
 * One SPI bus, three chip selects (indexed by each device's reg property):
 *   reg 0 -> ILI9341 display (via MIPI DBI), CS P0.16
 *   reg 1 -> XPT2046 touch,                  CS P0.28
 *   reg 2 -> SD card,                        CS P0.10
 *
 * Shared SPI: SCK P0.13, MOSI P0.14, MISO P0.15.
 */

#include <zephyr/dt-bindings/display/ili9xxx.h>
#include <zephyr/dt-bindings/gpio/gpio.h>

/ {
	chosen {
		zephyr,display = &ili9341;
		zephyr,touch = &xpt2046;
	};

	/* TFT backlight enable, driven as a plain GPIO output by the app. */
	display_backlight: display-backlight {
		compatible = "gpio-leds";
		backlight: backlight {
			gpios = <&gpio0 31 GPIO_ACTIVE_HIGH>;
			label = "TFT backlight";
		};
	};

	/* MIPI DBI (Mode C, 4-wire SPI) wrapper around spi4 for the ILI9341.
	 * D/C and RESET are sideband GPIOs owned by this controller node.
	 */
	mipi_dbi: mipi-dbi {
		compatible = "zephyr,mipi-dbi-spi";
		spi-dev = <&spi4>;
		dc-gpios = <&gpio0 17 GPIO_ACTIVE_HIGH>;
		/* ILI9341 RESX is active-low: the MIPI-DBI driver leaves reset
		 * de-asserted (inactive) after the pulse, so ACTIVE_LOW keeps the
		 * line physically HIGH = running. ACTIVE_HIGH would hold it in reset.
		 */
		reset-gpios = <&gpio0 18 GPIO_ACTIVE_LOW>;
		write-only;
		#address-cells = <1>;
		#size-cells = <0>;

		ili9341: ili9341@0 {
			compatible = "ilitek,ili9341";
			reg = <0>;                 /* CS index 0 on spi4 -> P0.16 */
			mipi-max-frequency = <16000000>;
			width = <320>;
			height = <240>;
			pixel-format = <ILI9XXX_PIXEL_FORMAT_RGB565>;
			/*
			 * Portrait, 240x320. Note the driver takes its resolution
			 * from ILI9341_X_RES/Y_RES in display_ili9341.h (240x320
			 * native) and ignores the width/height properties above
			 * for that purpose — only this rotation decides the
			 * reported geometry. 0/180 report 240x320 portrait, 90/270
			 * swap to 320x240 landscape (which is what we used to be).
			 *
			 * 180 is reachable at runtime via ui_set_flipped(), and
			 * because both 0 and 180 report the same 240x320, flipping
			 * the view never changes a single layout coordinate.
			 */
			rotation = <0>;
		};
	};
};

&pinctrl {
	spi4_disp_default: spi4_disp_default {
		group1 {
			psels = <NRF_PSEL(SPIM_SCK,  0, 13)>,
				<NRF_PSEL(SPIM_MOSI, 0, 14)>,
				<NRF_PSEL(SPIM_MISO, 0, 15)>;
		};
	};

	spi4_disp_sleep: spi4_disp_sleep {
		group1 {
			psels = <NRF_PSEL(SPIM_SCK,  0, 13)>,
				<NRF_PSEL(SPIM_MOSI, 0, 14)>,
				<NRF_PSEL(SPIM_MISO, 0, 15)>;
			low-power-enable;
		};
	};
};

&spi4 {
	status = "okay";
	pinctrl-0 = <&spi4_disp_default>;
	pinctrl-1 = <&spi4_disp_sleep>;
	pinctrl-names = "default", "sleep";

	cs-gpios = <&gpio0 16 GPIO_ACTIVE_LOW>,   /* reg 0: ILI9341 */
		   <&gpio0 28 GPIO_ACTIVE_LOW>,   /* reg 1: XPT2046 */
		   <&gpio0 10 GPIO_ACTIVE_LOW>;   /* reg 2: SD card  */

	xpt2046: xpt2046@1 {
		compatible = "xptek,xpt2046";
		reg = <1>;
		spi-max-frequency = <2000000>;
		int-gpios = <&gpio0 29 (GPIO_ACTIVE_LOW | GPIO_PULL_UP)>;
		touchscreen-size-x = <320>;
		touchscreen-size-y = <240>;
		/* Raw ADC extents (typical XPT2046 panel); tune during calibration. */
		min-x = <200>;
		min-y = <200>;
		max-x = <3900>;
		max-y = <3900>;
		z-threshold = <400>;
	};

	sdhc0: sdhc@2 {
		compatible = "zephyr,sdhc-spi-slot";
		reg = <2>;
		status = "okay";
		/*
		 * 4 MHz, not the bus maximum. The soak logger's worst case is
		 * ~3.2 KB/s (50 records/s of 64 B at the 20 ms slot), so 4 MHz
		 * still leaves two orders of magnitude of headroom, and the
		 * slower edges are far kinder to a card hanging off jumper
		 * wires on a bus shared with the display. Card init runs at
		 * 400 kHz regardless; this is the post-init transfer clock.
		 */
		spi-max-frequency = <4000000>;
		/*
		 * The binding's 1 ms default is not enough for a large SDXC
		 * card to come up: init then fails intermittently, reporting
		 * ENOTSUP or ETIMEDOUT depending on how the garbled response
		 * is read. The SD spec allows a card up to 250 ms after power
		 * before it must answer.
		 */
		power-delay-ms = <250>;

		mmc {
			compatible = "zephyr,sdmmc-disk";
			disk-name = "SD";
			status = "okay";
		};
	};
};
```

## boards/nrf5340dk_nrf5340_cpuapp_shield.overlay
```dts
/*
 * Rev 2 shield (OLED + microSD + Wio-SX1262) on the nRF5340 DK, 3.3 V: the
 * front end for the TDMA field variant (CONFIG_APP_TDMA_FIELD).
 *
 * Additive to the auto-applied radio overlay (nrf5340dk_nrf5340_cpuapp.overlay:
 * SX1262 on spi2 / port 1, unchanged). Like the TFT overlay, this one must
 * be passed explicitly via EXTRA_DTC_OVERLAY_FILE, with
 * boards/nrf5340dk_nrf5340_cpuapp_shield.conf.
 *
 *   microSD         spi4  SCK P1.14 (D12), MOSI P1.13 (D11), MISO P1.15 (D13),
 *                         CS P1.11 (D9), card-detect P1.12 (D10)
 *   SSD1306 128x32  i2c1  SDA P0.25 (A4), SCL P0.26 (A5), RST P0.07 (A3), 0x3C
 *
 * Pins as the shield's fabrication data routes them (ODB++ netlist in
 * Hardware/OLED-SD-SX1262-Shield_2026-08-16.zip): the socket's SCLK is on D12
 * and DO on D13, the OLED header on A4/A5, and the R3 header's dedicated
 * SDA/SCL pins are unconnected. Confirmed on the bench 2026-09-24: the
 * SSD1306 ACKs at 0x3C here, and the card mounts with SCK P1.14 / MISO P1.15
 * (the swapped mapping, which is the DK's own arduino_spi, does not). An
 * SD "disk" failure with this mapping means the card is not seated: DET
 * reads raw 1 until the push-push socket clicks.
 *
 * The TFT/touch front end (TFT overlay: P0.10, P0.13-18, P0.28-31) is not
 * used by this variant, so the DK LEDs on P0.28-31 are free again.
 */

#include <zephyr/dt-bindings/gpio/gpio.h>
#include <zephyr/dt-bindings/i2c/i2c.h>

/ {
	chosen {
		zephyr,display = &ssd1306;
	};

	/*
	 * microSD card-detect, read by the application as a plain GPIO. It is
	 * not wired into the SD driver. The socket's CD1 pad has a 100 k
	 * pull-up (R3) and a capacitor to GND on the shield; its CD2 pad is
	 * unconnected, but the switch still pulls CD1 low with a card in.
	 * ACTIVE_LOW confirmed on the bench 2026-09-24: raw 0 with a card
	 * seated, raw 1 with it out. This node merges with the radio overlay's
	 * rf-sw-gpios.
	 */
	zephyr,user {
		sd-det-gpios = <&gpio1 12 (GPIO_ACTIVE_LOW | GPIO_PULL_UP)>;
	};
};

&pinctrl {
	spi4_sd_default: spi4_sd_default {
		group1 {
			psels = <NRF_PSEL(SPIM_SCK,  1, 14)>,
				<NRF_PSEL(SPIM_MOSI, 1, 13)>,
				<NRF_PSEL(SPIM_MISO, 1, 15)>;
		};
	};

	spi4_sd_sleep: spi4_sd_sleep {
		group1 {
			psels = <NRF_PSEL(SPIM_SCK,  1, 14)>,
				<NRF_PSEL(SPIM_MOSI, 1, 13)>,
				<NRF_PSEL(SPIM_MISO, 1, 15)>;
			low-power-enable;
		};
	};

	/*
	 * The shield has no pull-ups on SDA/SCL. Most SSD1306 modules carry
	 * their own; the internal ~13 k pull-ups here are a fallback for
	 * modules that do not. If the display is flaky and the module has no
	 * pull-ups of its own, drop clock-frequency to I2C_BITRATE_STANDARD:
	 * 13 k is too weak for fast-mode rise times.
	 */
	i2c1_oled_default: i2c1_oled_default {
		group1 {
			psels = <NRF_PSEL(TWIM_SDA, 0, 25)>,
				<NRF_PSEL(TWIM_SCL, 0, 26)>;
			bias-pull-up;
		};
	};

	i2c1_oled_sleep: i2c1_oled_sleep {
		group1 {
			psels = <NRF_PSEL(TWIM_SDA, 0, 25)>,
				<NRF_PSEL(TWIM_SCL, 0, 26)>;
			low-power-enable;
		};
	};
};

&spi4 {
	status = "okay";
	pinctrl-0 = <&spi4_sd_default>;
	pinctrl-1 = <&spi4_sd_sleep>;
	pinctrl-names = "default", "sleep";

	cs-gpios = <&gpio1 11 GPIO_ACTIVE_LOW>;	/* reg 0: SD card */

	sdhc0: sdhc@0 {
		compatible = "zephyr,sdhc-spi-slot";
		reg = <0>;
		status = "okay";
		/*
		 * Copied verbatim from the TFT overlay. These two values are
		 * the fix for the 2026-07-31 enumeration failures, so do not
		 * "tidy" them back to the binding defaults.
		 *
		 * 4 MHz, not the bus maximum. The soak logger's worst case is
		 * ~3.2 KB/s (50 records/s of 64 B at the 20 ms slot), which
		 * leaves two orders of magnitude of headroom. Card init runs at
		 * 400 kHz regardless; this is the post-init transfer clock.
		 */
		spi-max-frequency = <4000000>;
		/*
		 * The binding's 1 ms default is not enough for a large SDXC card
		 * to come up. Init then fails intermittently with ENOTSUP or
		 * ETIMEDOUT. The SD spec allows a card up to 250 ms after power
		 * before it must answer.
		 */
		power-delay-ms = <250>;

		mmc {
			compatible = "zephyr,sdmmc-disk";
			disk-name = "SD";
			status = "okay";
		};
	};
};

&i2c1 {
	status = "okay";
	pinctrl-0 = <&i2c1_oled_default>;
	pinctrl-1 = <&i2c1_oled_sleep>;
	pinctrl-names = "default", "sleep";
	clock-frequency = <I2C_BITRATE_FAST>;
	/*
	 * The SSD1306 driver sends each frame as two messages: a 1-byte
	 * control prefix, then all the pixel bytes (512 at 128x32). TWIM
	 * cannot chain them, so the driver merges them in this RAM buffer,
	 * which defaults to 16 bytes. With the default, every frame write
	 * failed on the bench (2026-09-24): init commands ACKed, the
	 * screen stayed blank. Sized for a 128x64 panel, so either fits.
	 */
	zephyr,concat-buf-size = <1025>;

	/* The panel is Adafruit's 128x32 SSD1306 (confirmed 2026-10-22; it was
	 * configured as 128x64 until then). From Zephyr's
	 * boards/shields/ssd1306/ssd1306_128x32.overlay, plus the shield's
	 * reset line.
	 */
	ssd1306: ssd1306@3c {
		compatible = "solomon,ssd1306fb";
		reg = <0x3c>;
		width = <128>;
		height = <32>;
		segment-offset = <0>;
		page-offset = <0>;
		display-offset = <0>;
		multiplex-ratio = <31>;
		segment-remap;
		com-invdir;
		com-sequential;
		prechargep = <0x22>;
		reset-gpios = <&gpio0 7 GPIO_ACTIVE_LOW>;
	};
};
```

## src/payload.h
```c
/*
 * payload - the TX payload buffer for the telemetry console.
 *
 * A simple byte buffer plus length, edited via the hex keypad or filled from
 * canned presets for fast field testing. Owned/edited by the main (UI) thread;
 * the TX thread snapshots it at send time, so no locking is needed here.
 */

#ifndef PAYLOAD_H
#define PAYLOAD_H

#include <stdint.h>
#include <stddef.h>
#include <stdbool.h>

#define PAYLOAD_MAX 255

/* Default payload: 16 zero bytes (matches the standalone LoRa firmware). */
void payload_init(void);

const uint8_t *payload_bytes(void);
size_t payload_len(void);

/* Replace the payload with buf[0..len). Clamps len to PAYLOAD_MAX; returns
 * false if it had to clamp.
 */
bool payload_set(const uint8_t *buf, size_t len);
void payload_clear(void);

/* Canned presets. */
void payload_preset_zeros(void); /* 16 x 0x00 */
void payload_preset_ff(void);    /* 16 x 0xFF */
void payload_preset_ramp(void);  /* 00 01 02 .. 0F (16 bytes) */
void payload_preset_ascii(void); /* "BLUEFROG" */

/* Format the payload as "DE AD BE EF ..." into out (NUL-terminated). Returns
 * the number of characters written (excluding NUL); truncates to fit outsz.
 */
size_t payload_hex_string(char *out, size_t outsz);

/* Parse a hex string into the payload (spaces ignored, case-insensitive). A
 * trailing single nibble becomes a low-nibble byte. Returns the byte count.
 */
int payload_set_from_hex(const char *hex);

#endif /* PAYLOAD_H */
```
